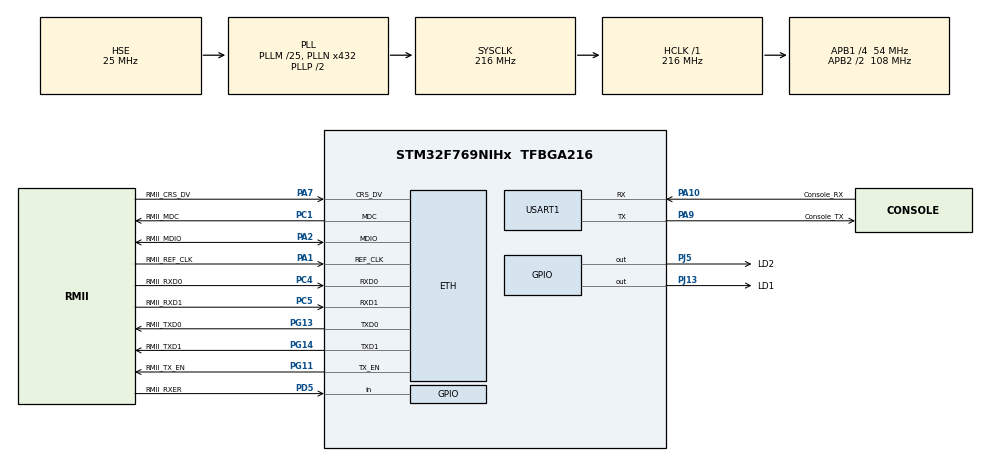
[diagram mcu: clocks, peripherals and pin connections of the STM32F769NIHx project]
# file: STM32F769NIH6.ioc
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CORTEX_M7.CPU_DCache=Enabled
CORTEX_M7.CPU_ICache=Enabled
ETH.MediaInterface=ETH_MEDIA_INTERFACE_RMII
ETH.PhyAddress=0
ETH.RxMode=ETH_RXINTERRUPT_MODE
FREERTOS.Tasks01=Task01,0,128,StartTask01,Default,NULL,Dynamic,NULL,NULL
FREERTOS.configTICK_RATE_HZ=1000
LWIP.IP_ADDRESS=169.254.016.100
LWIP.LWIP_DHCP=0
LWIP.LWIP_NETIF_LINK_CALLBACK=1
LWIP.NETMASK_ADDRESS=255.255.000.000
LWIP.Version=v2.0.3_Cube
Mcu.Family=STM32F7
Mcu.Name=STM32F769NIHx
Mcu.Package=TFBGA216
NVIC.ETH_IRQn=true\:5\:0\:false\:false\:true\:true\:false\:true
NVIC.PriorityGroup=NVIC_PRIORITYGROUP_4
NVIC.TIM6_DAC_IRQn=true\:0\:0\:false\:false\:true\:false\:false\:true
NVIC.TimeBase=TIM6_DAC_IRQn
NVIC.TimeBaseIP=TIM6
PA1.GPIO_Label=RMII_REF_CLK
PA1.Mode=RMII
PA1.Signal=ETH_REF_CLK
PA10.GPIO_Label=Console_RX
PA10.Mode=Asynchronous
PA10.Signal=USART1_RX
PA13.GPIO_Label=SWDIO
PA13.Mode=Serial_Wire
PA13.Signal=SYS_JTMS-SWDIO
PA14.GPIO_Label=SWCLK
PA14.Mode=Serial_Wire
PA14.Signal=SYS_JTCK-SWCLK
PA2.GPIO_Label=RMII_MDIO
PA2.Mode=RMII
PA2.Signal=ETH_MDIO
PA7.GPIO_Label=RMII_CRS_DV
PA7.Mode=RMII
PA7.Signal=ETH_CRS_DV
PA9.GPIO_Label=Console_TX
PA9.Mode=Asynchronous
PA9.Signal=USART1_TX
PC1.GPIO_Label=RMII_MDC
PC1.Mode=RMII
PC1.Signal=ETH_MDC
PC14/OSC32_IN.GPIO_Label=OSC32_IN
PC14/OSC32_IN.Mode=LSE-External-Oscillator
PC14/OSC32_IN.Signal=RCC_OSC32_IN
PC15/OSC32_OUT.GPIO_Label=OSC32_OUT
PC15/OSC32_OUT.Mode=LSE-External-Oscillator
PC15/OSC32_OUT.Signal=RCC_OSC32_OUT
PC4.GPIO_Label=RMII_RXD0
PC4.Mode=RMII
PC4.Signal=ETH_RXD0
PC5.GPIO_Label=RMII_RXD1
PC5.Mode=RMII
PC5.Signal=ETH_RXD1
PD5.GPIO_Label=RMII_RXER
PD5.Signal=GPIO_Input
PG11.GPIO_Label=RMII_TX_EN
PG11.Mode=RMII
PG11.Signal=ETH_TX_EN
PG13.GPIO_Label=RMII_TXD0
PG13.Mode=RMII
PG13.Signal=ETH_TXD0
PG14.GPIO_Label=RMII_TXD1
PG14.Mode=RMII
PG14.Signal=ETH_TXD1
PH0/OSC_IN.GPIO_Label=OSC_IN
PH0/OSC_IN.Mode=HSE-External-Oscillator
PH0/OSC_IN.Signal=RCC_OSC_IN
PH1/OSC_OUT.GPIO_Label=OSC_OUT
PH1/OSC_OUT.Mode=HSE-External-Oscillator
PH1/OSC_OUT.Signal=RCC_OSC_OUT
PJ13.GPIO_Label=LD1
PJ13.Signal=GPIO_Output
PJ5.GPIO_Label=LD2
PJ5.Signal=GPIO_Output
ProjectManager.HeapSize=0x1000
ProjectManager.StackSize=0x400
ProjectManager.TargetToolchain=EWARM V8
RCC.AHBFreq_Value=216000000
RCC.APB1CLKDivider=RCC_HCLK_DIV4
RCC.APB1Freq_Value=54000000
RCC.APB1TimFreq_Value=108000000
RCC.APB2CLKDivider=RCC_HCLK_DIV2
RCC.APB2Freq_Value=108000000
RCC.APB2TimFreq_Value=216000000
RCC.CortexFreq_Value=216000000
RCC.HCLKFreq_Value=216000000
RCC.HSE_VALUE=25000000
RCC.HSI_VALUE=16000000
RCC.PLLM=25
RCC.PLLN=432
RCC.PLLSourceVirtual=RCC_PLLSOURCE_HSE
RCC.SYSCLKFreq_VALUE=216000000
RCC.SYSCLKSource=RCC_SYSCLKSOURCE_PLLCLK
RCC.USBFreq_Value=216000000
RCC.VCOOutputFreq_Value=432000000
USART1.VirtualMode-Asynchronous=VM_ASYNC
VP_FREERTOS_VS_CMSIS_V1.Mode=CMSIS_V1
VP_LWIP_VS_Enabled.Mode=Enabled
VP_SYS_VS_tim6.Mode=TIM6
board=custom

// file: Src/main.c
/* USER CODE BEGIN Header */
/**
  ******************************************************************************
  * @file           : main.c
  * @brief          : Main program body
  ******************************************************************************
  * @attention
  *
  * <h2><center>&copy; Copyright (c) 2020 STMicroelectronics.
  * All rights reserved.</center></h2>
  *
  * This software component is licensed by ST under BSD 3-Clause license,
  * the "License"; You may not use this file except in compliance with the
  * License. You may obtain a copy of the License at:
  *                        opensource.org/licenses/BSD-3-Clause
  *
  ******************************************************************************
  */
/* USER CODE END Header */

#include "main.h"
#include "cmsis_os.h"
#include "lwip.h"
#include "usart.h"
#include "gpio.h"

/* USER CODE BEGIN PD */
#define TX_BUF_MAX_LEN          32
#define RX_BUF_MAX_LEN          32
/* USER CODE END PD */

/* USER CODE BEGIN PV */
uint8_t TxBuffer[TX_BUF_MAX_LEN] = {"Hello STM32F769NIH6!"};
uint8_t RxBuffer[RX_BUF_MAX_LEN];
/* USER CODE END PV */

void SystemClock_Config(void);
void MX_FREERTOS_Init(void);

int main(void)
{

  /* Enable I-Cache---------------------------------------------------------*/
  SCB_EnableICache();

  /* Enable D-Cache---------------------------------------------------------*/
  SCB_EnableDCache();

  /* MCU Configuration--------------------------------------------------------*/

  /* Reset of all peripherals, Initializes the Flash interface and the Systick. */
  HAL_Init();

  /* Configure the system clock */
  SystemClock_Config();

  /* Initialize all configured peripherals */
  MX_GPIO_Init();
  MX_USART1_UART_Init();
  /* USER CODE BEGIN 2 */
  printf("**************************************************\r\n");
  printf("%s\r\n", TxBuffer);
//  Console_Info("Please input a string, End with sapce or \\r\\n ...\r\n");
//#if defined (__ICCARM__)
//  getInputString((char *)RxBuffer, sizeof(RxBuffer));
//#else
//  scanf("%s", RxBuffer);
//#endif
//  Console_Info("Your input string is: %s\r\n", RxBuffer);
  printf("**************************************************\r\n\r\n");
  /* USER CODE END 2 */

  /* Call init function for freertos objects (in freertos.c) */
  MX_FREERTOS_Init();

  /* Start scheduler */
  osKernelStart();

  /* We should never get here as control is now taken by the scheduler */

  /* Infinite loop */
  while (1)
  {

  }
}

void SystemClock_Config(void)
{
  RCC_OscInitTypeDef RCC_OscInitStruct = {0};
  RCC_ClkInitTypeDef RCC_ClkInitStruct = {0};
  RCC_PeriphCLKInitTypeDef PeriphClkInitStruct = {0};

  /** Configure LSE Drive Capability
  */
  HAL_PWR_EnableBkUpAccess();
  /** Configure the main internal regulator output voltage
  */
  __HAL_RCC_PWR_CLK_ENABLE();
  __HAL_PWR_VOLTAGESCALING_CONFIG(PWR_REGULATOR_VOLTAGE_SCALE1);
  /** Initializes the CPU, AHB and APB busses clocks
  */
  RCC_OscInitStruct.OscillatorType = RCC_OSCILLATORTYPE_HSE;
  RCC_OscInitStruct.HSEState = RCC_HSE_ON;
  RCC_OscInitStruct.PLL.PLLState = RCC_PLL_ON;
  RCC_OscInitStruct.PLL.PLLSource = RCC_PLLSOURCE_HSE;
  RCC_OscInitStruct.PLL.PLLM = 25;
  RCC_OscInitStruct.PLL.PLLN = 432;
  RCC_OscInitStruct.PLL.PLLP = RCC_PLLP_DIV2;
  RCC_OscInitStruct.PLL.PLLQ = 2;
  if (HAL_RCC_OscConfig(&RCC_OscInitStruct) != HAL_OK)
  {
    Error_Handler();
  }
  /** Activate the Over-Drive mode
  */
  if (HAL_PWREx_EnableOverDrive() != HAL_OK)
  {
    Error_Handler();
  }
  /** Initializes the CPU, AHB and APB busses clocks
  */
  RCC_ClkInitStruct.ClockType = RCC_CLOCKTYPE_HCLK|RCC_CLOCKTYPE_SYSCLK
                              |RCC_CLOCKTYPE_PCLK1|RCC_CLOCKTYPE_PCLK2;
  RCC_ClkInitStruct.SYSCLKSource = RCC_SYSCLKSOURCE_PLLCLK;
  RCC_ClkInitStruct.AHBCLKDivider = RCC_SYSCLK_DIV1;
  RCC_ClkInitStruct.APB1CLKDivider = RCC_HCLK_DIV4;
  RCC_ClkInitStruct.APB2CLKDivider = RCC_HCLK_DIV2;

  if (HAL_RCC_ClockConfig(&RCC_ClkInitStruct, FLASH_LATENCY_7) != HAL_OK)
  {
    Error_Handler();
  }
  PeriphClkInitStruct.PeriphClockSelection = RCC_PERIPHCLK_USART1;
  PeriphClkInitStruct.Usart1ClockSelection = RCC_USART1CLKSOURCE_PCLK2;
  if (HAL_RCCEx_PeriphCLKConfig(&PeriphClkInitStruct) != HAL_OK)
  {
    Error_Handler();
  }
}

/* USER CODE BEGIN 4 */
void LED_ON(uint8_t led)
{
  switch(led)
  {
    case 1: HAL_GPIO_WritePin(LD1_GPIO_Port, LD1_Pin, GPIO_PIN_SET);
      break;
    case 2: HAL_GPIO_WritePin(LD2_GPIO_Port, LD2_Pin, GPIO_PIN_SET);
      break;
    default:
      break;
  }
}

void LED_OFF(uint8_t led)
{
  switch(led)
  {
    case 1: HAL_GPIO_WritePin(LD1_GPIO_Port, LD1_Pin, GPIO_PIN_RESET);
      break;
    case 2: HAL_GPIO_WritePin(LD2_GPIO_Port, LD2_Pin, GPIO_PIN_RESET);
      break;
    default:
      break;
  }
}
/* USER CODE END 4 */

void HAL_TIM_PeriodElapsedCallback(TIM_HandleTypeDef *htim)
{
  if (htim->Instance == TIM6) {
    HAL_IncTick();
  }
}

void Error_Handler(void)
{
}

/************************ (C) COPYRIGHT STMicroelectronics *****END OF FILE****/

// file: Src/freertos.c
/* USER CODE BEGIN Header */
/**
  ******************************************************************************
  * File Name          : freertos.c
  * Description        : Code for freertos applications
  ******************************************************************************
  * @attention
  *
  * <h2><center>&copy; Copyright (c) 2020 STMicroelectronics.
  * All rights reserved.</center></h2>
  *
  * This software component is licensed by ST under Ultimate Liberty license
  * SLA0044, the "License"; You may not use this file except in compliance with
  * the License. You may obtain a copy of the License at:
  *                             www.st.com/SLA0044
  *
  ******************************************************************************
  */
/* USER CODE END Header */

#include "FreeRTOS.h"
#include "task.h"
#include "main.h"
#include "cmsis_os.h"

/* USER CODE BEGIN Includes */
#include "tcp_server_socket.h"
/* USER CODE END Includes */

osThreadId Task01Handle;

void StartTask01(void const * argument);

extern void MX_LWIP_Init(void);
void MX_FREERTOS_Init(void); /* (MISRA C 2004 rule 8.1) */

void MX_FREERTOS_Init(void) {

  /* Create the thread(s) */
  /* definition and creation of Task01 */
  osThreadDef(Task01, StartTask01, osPriorityNormal, 0, 128);
  Task01Handle = osThreadCreate(osThread(Task01), NULL);

}

void StartTask01(void const * argument)
{
  /* init code for LWIP */
  MX_LWIP_Init();

  /* USER CODE BEGIN StartTask01 */
  TCP_Server_Init();
  LED_ON(2);
  //printf("Start Task01.\r\n");
  /* Infinite loop */
  for(;;)
  {
    //printf("Task01.\r\n");
    osDelay(1000);
  }
  /* USER CODE END StartTask01 */
}

/************************ (C) COPYRIGHT STMicroelectronics *****END OF FILE****/
